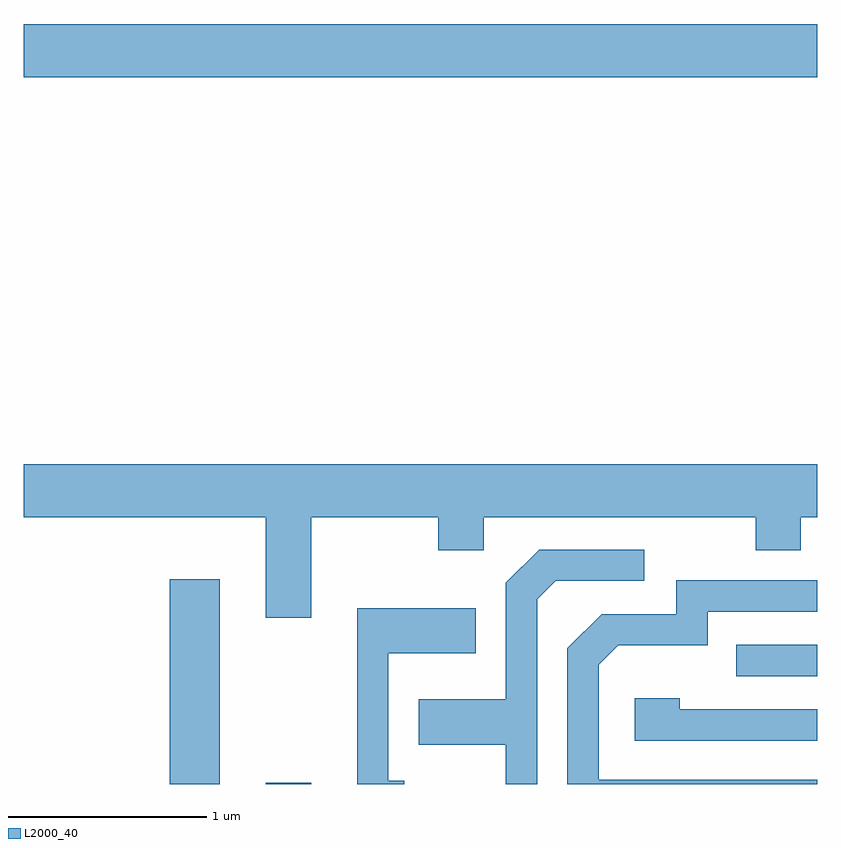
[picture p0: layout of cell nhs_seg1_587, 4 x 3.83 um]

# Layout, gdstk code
import gdstk
lib = gdstk.Library(unit=1e-6, precision=1e-09)
def R(c, l, rs):  # rectangles x0, y0, x1, y1
    for r in rs: c.add(gdstk.rectangle(r[:2], r[2:], *l))
def P(c, l, *ps):  # polygons
    for p in ps: c.add(gdstk.Polygon(p, *l))
L2000_40 = (2000, 40)

nhs_seg1_587 = lib.new_cell('nhs_seg1_587')
R(nhs_seg1_587, L2000_40, [(202.346,973.712,202.599,974.744), (202.831,973.712,203.059,973.719), (205.203,974.256,205.611,974.414), (201.611,977.276,205.611,977.544)])
P(nhs_seg1_587, L2000_40, [(203.059,975.056),(203.701,975.056),(203.701,974.891),(203.929,974.891),(203.929,975.056),(205.301,975.056),(205.301,974.891),(205.529,974.891),(205.529,975.056),(205.611,975.056),(205.611,975.324),(201.611,975.324),(201.611,975.056),(202.831,975.056),(202.831,974.551),(203.059,974.551)],
  [(204.199,974.644),(204.292,974.736),(204.738,974.736),(204.738,974.894),(204.209,974.894),(204.041,974.727),(204.041,974.139),(203.601,974.139),(203.601,973.911),(204.041,973.911),(204.041,973.712),(204.199,973.712)],
  [(205.611,973.734),(204.509,973.734),(204.509,974.314),(204.607,974.411),(205.059,974.411),(205.059,974.581),(205.611,974.581),(205.611,974.739),(204.901,974.739),(204.901,974.569),(204.524,974.569),(204.351,974.397),(204.351,973.712),(205.611,973.712)],
  [(203.528,973.729),(203.449,973.729),(203.449,974.371),(203.889,974.371),(203.889,974.599),(203.291,974.599),(203.291,973.712),(203.528,973.712)],
  [(205.611,974.089),(204.919,974.089),(204.919,974.144),(204.691,974.144),(204.691,973.931),(205.611,973.931)])

lib.write_gds('nhs_seg1_587.gds')
